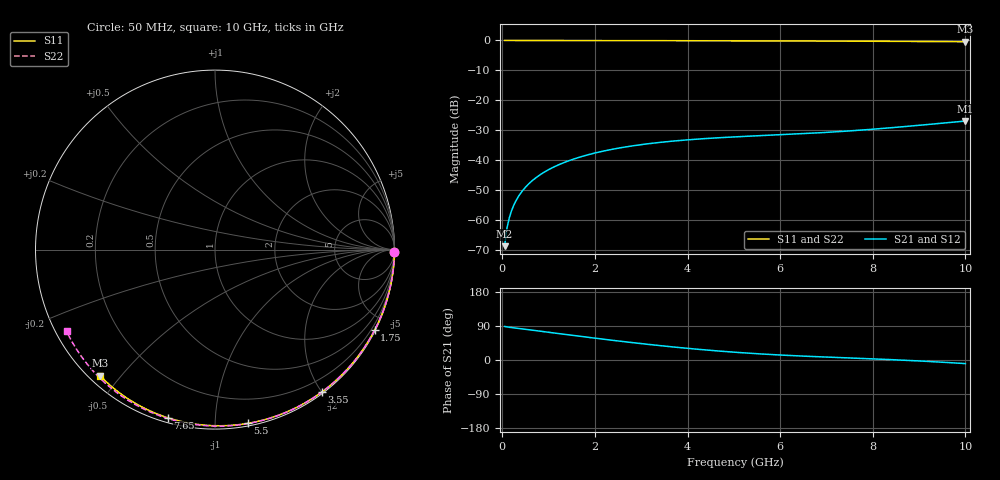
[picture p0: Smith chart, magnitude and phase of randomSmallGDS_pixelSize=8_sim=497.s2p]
! freq	dB(S11)	phase(S11)	dB(S12)	phase(S12)
!  dB(S21)	phase(S21)	dB(S22)	phase(S22)
!S-par simulation data
#  GHz  S  DB  R 50
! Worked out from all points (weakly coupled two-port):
!   200 points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, 50 MHz to 10 GHz, reference 50 ohm
!   highest |S21| = -26.92 dB at 10 GHz (marker M1); lowest = -68.7 dB at 50 MHz (marker M2)
!   lowest |S11| = -0.4 dB at 10 GHz (marker M3), VSWR 39.39, Z = 1.52 - j22 ohm
!   |S11| at or under -10 dB: nowhere
!   |S22| runs from -0.5 to 0.0 dB; largest |S21 - S12| = 0
!   S11 on the Smith chart (normalised r, x): 50 MHz: open; 1.75 GHz: 0.04, -4.19; 3.55 GHz: 0.02, -2.00; 5.5 GHz: 0.02, -1.21; 7.65 GHz: 0.02, -0.76; 10 GHz: 0.03, -0.44
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0.05  -0.00 -0.8  -68.73 88.5  -68.73 88.5  -0.00 -0.9
0.1  -0.00 -1.6  -62.78 87.3  -62.78 87.3  -0.00 -1.8
0.15  -0.00 -2.3  -59.33 86.4  -59.33 86.4  -0.00 -2.7
0.2  -0.00 -3.1  -56.88 85.6  -56.88 85.6  -0.00 -3.6
0.25  -0.00 -3.9  -54.97 84.9  -54.97 84.9  -0.00 -4.5
0.35  -0.00 -5.4  -52.10 83.4  -52.10 83.4  -0.00 -6.2
0.5  -0.01 -7.8  -49.04 81.1  -49.04 81.1  -0.01 -8.9
0.7  -0.01 -10.9  -46.17 78.0  -46.17 78.0  -0.01 -12.4
1  -0.02 -15.5  -43.16 73.2  -43.16 73.2  -0.02 -17.7
1.35  -0.03 -20.8  -40.69 67.7  -40.69 67.7  -0.03 -23.8
1.75  -0.03 -26.8  -38.63 61.4  -38.63 61.4  -0.04 -30.7
2.5  -0.05 -38.0  -36.00 50.2  -36.00 50.2  -0.06 -43.4
3.4  -0.07 -50.9  -34.06 38.0  -34.06 38.0  -0.08 -58.1
3.55  -0.07 -53.1  -33.82 36.1  -33.82 36.1  -0.08 -60.5
4.3  -0.09 -63.4  -32.87 27.5  -32.87 27.5  -0.10 -72.2
5.05  -0.11 -73.5  -32.19 20.2  -32.19 20.2  -0.13 -83.5
5.5  -0.13 -79.3  -31.86 16.6  -31.86 16.6  -0.15 -90.1
6.7  -0.18 -94.4  -30.97 9.2  -30.97 9.2  -0.21 -107.1
7.65  -0.24 -105.7  -30.06 4.7  -30.06 4.7  -0.27 -120.0
8.35  -0.29 -113.8  -29.22 1.2  -29.22 1.2  -0.33 -129.3
9.2  -0.36 -123.5  -28.07 -3.8  -28.07 -3.8  -0.41 -140.6
10  -0.44 -132.4  -26.92 -9.5  -26.92 -9.5  -0.50 -151.2
